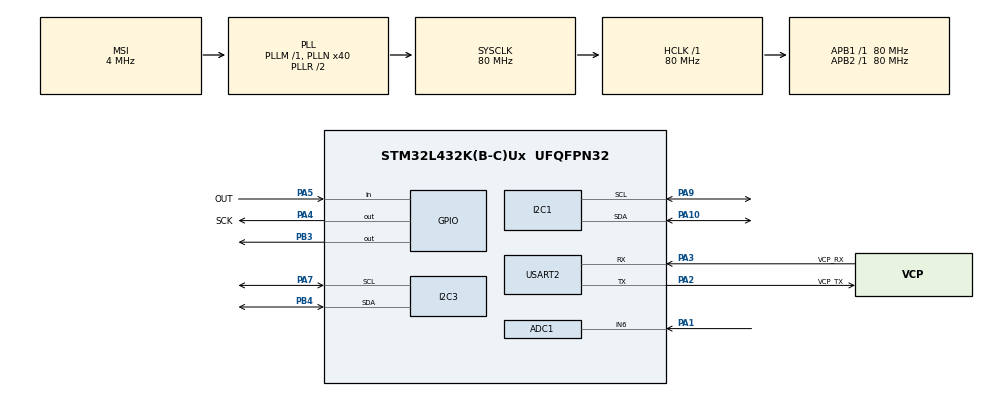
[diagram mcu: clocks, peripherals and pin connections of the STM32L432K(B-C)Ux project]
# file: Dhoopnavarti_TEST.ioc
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ADC1.Channel-0\#ChannelRegularConversion=ADC_CHANNEL_6
ADC1.ClockPrescaler=ADC_CLOCK_SYNC_PCLK_DIV1
ADC1.ContinuousConvMode=ENABLE
ADC1.DMAContinuousRequests=DISABLE
ADC1.EnableAnalogWatchDog1=false
ADC1.NbrOfConversion=1
ADC1.NbrOfConversionFlag=1
ADC1.OffsetNumber-0\#ChannelRegularConversion=ADC_OFFSET_NONE
ADC1.OversamplingMode=DISABLE
ADC1.Rank-0\#ChannelRegularConversion=1
ADC1.Resolution=ADC_RESOLUTION_10B
ADC1.SamplingTime-0\#ChannelRegularConversion=ADC_SAMPLETIME_2CYCLES_5
ADC1.master=1
I2C1.Timing=0x10D19CE4
I2C3.Timing=0x10D19CE4
Mcu.Family=STM32L4
Mcu.Name=STM32L432K(B-C)Ux
Mcu.Package=UFQFPN32
NVIC.I2C1_ER_IRQn=true\:0\:0\:false\:false\:true\:true\:true\:true
NVIC.I2C1_EV_IRQn=true\:0\:0\:false\:false\:true\:true\:true\:true
NVIC.I2C3_ER_IRQn=true\:0\:0\:false\:false\:true\:true\:true\:true
NVIC.I2C3_EV_IRQn=true\:0\:0\:false\:false\:true\:true\:true\:true
NVIC.PriorityGroup=NVIC_PRIORITYGROUP_4
PA0.GPIO_Label=MCO [High speed clock in]
PA0.Mode=HSE-External-Clock-Source-for-LittleOrca
PA0.Signal=RCC_CK_IN
PA1.Signal=ADCx_IN6
PA10.Mode=I2C
PA10.Signal=I2C1_SDA
PA13\ (JTMS-SWDIO).GPIO_Label=SWDIO
PA13\ (JTMS-SWDIO).Mode=Serial_Wire
PA13\ (JTMS-SWDIO).Signal=SYS_JTMS-SWDIO
PA14\ (JTCK-SWCLK).GPIO_Label=SWCLK
PA14\ (JTCK-SWCLK).Mode=Serial_Wire
PA14\ (JTCK-SWCLK).Signal=SYS_JTCK-SWCLK
PA2.GPIO_Label=VCP_TX
PA2.Mode=Asynchronous
PA2.Signal=USART2_TX
PA3.GPIO_Label=VCP_RX
PA3.Mode=Asynchronous
PA3.Signal=USART2_RX
PA4.GPIO_Label=SCK
PA4.Signal=GPIO_Output
PA5.GPIO_Label=OUT
PA5.Signal=GPIO_Input
PA7.Mode=I2C
PA7.Signal=I2C3_SCL
PA9.Mode=I2C
PA9.Signal=I2C1_SCL
PB3\ (JTDO-TRACESWO).Signal=GPIO_Output
PB4\ (NJTRST).Mode=I2C
PB4\ (NJTRST).Signal=I2C3_SDA
PC14-OSC32_IN\ (PC14).Mode=LSE-External-Oscillator
PC14-OSC32_IN\ (PC14).Signal=RCC_OSC32_IN
PC15-OSC32_OUT\ (PC15).Mode=LSE-External-Oscillator
PC15-OSC32_OUT\ (PC15).Signal=RCC_OSC32_OUT
ProjectManager.HeapSize=0x200
ProjectManager.StackSize=0x400
ProjectManager.TargetToolchain=STM32CubeIDE
RCC.ADCFreq_Value=32000000
RCC.AHBFreq_Value=80000000
RCC.APB1Freq_Value=80000000
RCC.APB1TimFreq_Value=80000000
RCC.APB2Freq_Value=80000000
RCC.APB2TimFreq_Value=80000000
RCC.CortexFreq_Value=80000000
RCC.HCLKFreq_Value=80000000
RCC.HSE_VALUE=8000000
RCC.HSI16_VALUE=16000000
RCC.HSI48_VALUE=48000000
RCC.HSI_VALUE=16000000
RCC.MSI_VALUE=4000000
RCC.PLLMUL=RCC_PLLMUL_4
RCC.PLLN=40
RCC.PLLSAI1N=16
RCC.SYSCLKFreq_VALUE=80000000
RCC.SYSCLKSource=RCC_SYSCLKSOURCE_PLLCLK
RCC.USBFreq_Value=32000000
RCC.VCOOutputFreq_Value=160000000
SH.ADCx_IN6.0=ADC1_IN6,IN6-Single-Ended
USART2.VirtualMode-Asynchronous=VM_ASYNC
board=NUCLEO-L432KC

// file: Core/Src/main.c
/* USER CODE BEGIN Header */
/**
 ******************************************************************************
 * @file           : main.c
 * @brief          : Main program body
 ******************************************************************************
 * @attention
 *
 * Copyright (c) 2024 STMicroelectronics.
 * All rights reserved.
 *
 * This software is licensed under terms that can be found in the LICENSE file
 * in the root directory of this software component.
 * If no LICENSE file comes with this software, it is provided AS-IS.
 *
 ******************************************************************************
 */
/* USER CODE END Header */
#include "main.h"

/* USER CODE BEGIN Includes */
#include "tmp117.h"
#include "ssd1306.h"
#include "ssd1306_conf.h"
#include "ssd1306_tests.h"
#include "ssd1306_fonts.h"
#include <stdio.h>
#include <string.h>
/* USER CODE END Includes */

/* USER CODE BEGIN PD */
#define HX710B_DATA_GPIO_Port OUT_GPIO_Port
#define HX710B_DATA_Pin OUT_Pin
#define HX710B_CLK_GPIO_Port SCK_GPIO_Port
#define HX710B_CLK_Pin SCK_Pin
/* USER CODE END PD */

ADC_HandleTypeDef hadc1;

I2C_HandleTypeDef hi2c1;
I2C_HandleTypeDef hi2c3;

UART_HandleTypeDef huart2;

/* USER CODE BEGIN PV */
#define TMP117_ADDR          0x48 << 1     // TMP117 address with R/W bit
#define TMP117_TEMP_REG      0x00          // Temperature register
#define TMP117_CONFIG_REG    0x01          // Configuration register

// TMP117 configuration values
#define TMP117_CONFIG_VALUE  0x0220
/* USER CODE END PV */

void SystemClock_Config(void);
static void MX_GPIO_Init(void);
static void MX_I2C1_Init(void);
static void MX_USART2_UART_Init(void);
static void MX_ADC1_Init(void);
static void MX_I2C3_Init(void);

/* USER CODE BEGIN 0 */
// TMP117 Initialization
HAL_StatusTypeDef TMP117_Init(void) {
	uint8_t config_data[3];
	config_data[0] = TMP117_CONFIG_REG;               // Register pointer
	config_data[1] = (TMP117_CONFIG_VALUE >> 8) & 0xFF; // MSB of config
	config_data[2] = TMP117_CONFIG_VALUE & 0xFF;       // LSB of config

	// Write to the configuration register
	return HAL_I2C_Master_Transmit(&hi2c1, TMP117_ADDR, config_data, 3,
			HAL_MAX_DELAY);
}

// Read temperature from TMP117
HAL_StatusTypeDef TMP117_ReadTemperature(float *temperature) {
	uint8_t temp_data[2];
	int16_t raw_temp;

	// Request 2 bytes from temperature register
	temp_data[0] = TMP117_TEMP_REG;
	if (HAL_I2C_Master_Transmit(&hi2c1, TMP117_ADDR, temp_data, 1,
			HAL_MAX_DELAY) != HAL_OK) {
		return HAL_ERROR;  // Error in sending data
	}

	// Receive 2 bytes of temperature data
	if (HAL_I2C_Master_Receive(&hi2c1, TMP117_ADDR, temp_data, 2, HAL_MAX_DELAY)
			!= HAL_OK) {
		return HAL_ERROR;  // Error in receiving data
	}

	// Combine the two bytes to form a 16-bit signed integer
	raw_temp = (int16_t) ((temp_data[0] << 8) | temp_data[1]);

	// Convert to Celsius based on TMP117 resolution (0.0078125 °C per LSB)
	*temperature = raw_temp * 0.0078125;

	return HAL_OK;
}
int _write(int file, char *ptr, int len) {
	int DataIdx;
	for (DataIdx = 0; DataIdx < len; DataIdx++) {
		ITM_SendChar(*ptr++);
	}
	return len;
}

long readHX710B() {
	// Wait until data line is low (indicating data is ready)
	while (HAL_GPIO_ReadPin(HX710B_DATA_GPIO_Port, HX710B_DATA_Pin))
		;

	long result = 0;

	// Read 24 bits from the sensor
	for (int i = 0; i < 24; i++) {
		// Set clock high and then low with small delay for timing
		HAL_GPIO_WritePin(HX710B_CLK_GPIO_Port, HX710B_CLK_Pin, GPIO_PIN_SET);
//        delay_us(1);  // 1 microsecond delay;
//        HAL_Delay(1);
		HAL_GPIO_WritePin(HX710B_CLK_GPIO_Port, HX710B_CLK_Pin, GPIO_PIN_RESET);
//        delay_us(1);  // 1 microsecond delay

		// Shift result left and read data bit
		result = result << 1;
		if (HAL_GPIO_ReadPin(HX710B_DATA_GPIO_Port, HX710B_DATA_Pin)) {
			result++;
		}
	}

	// Convert to two's complement if needed
	result = result ^ 0x800000;

	// Pulse the clock line 3 times to initiate the next reading
	for (char i = 0; i < 3; i++) {
		HAL_GPIO_WritePin(HX710B_CLK_GPIO_Port, HX710B_CLK_Pin, GPIO_PIN_SET);
//        delay_us(1);  // Small delay
//        HAL_Delay(1);
		HAL_GPIO_WritePin(HX710B_CLK_GPIO_Port, HX710B_CLK_Pin, GPIO_PIN_RESET);
//        delay_us(1);  // Small delay
	}

	return result;
}
float mapVoltageToPercentage(float voltage, float minVoltage, float maxVoltage) {
    // Ensure voltage stays within the specified range
    if (voltage < minVoltage) voltage = minVoltage;
    if (voltage > maxVoltage) voltage = maxVoltage;

    // Map the voltage to a percentage
    return ((voltage - minVoltage) / (maxVoltage - minVoltage)) * 100.0;
}
float batterymonitor() {
// Poll for conversion completion and check if the ADC data is ready
	HAL_ADC_Start(&hadc1);
	if (HAL_ADC_PollForConversion(&hadc1, HAL_MAX_DELAY) == HAL_OK) {
		// Get the analog value
		uint32_t adcValue = HAL_ADC_GetValue(&hadc1);

		// Convert ADC value to voltage (assuming 12-bit resolution and 3.3V reference)
		float voltage = (adcValue * 5.0f) / 1023.0f;

		// Print or use the voltage value
		return voltage / (0.4);
	}
	return 0;
}

/* USER CODE END 0 */

int main(void)
{

  /* MCU Configuration--------------------------------------------------------*/

  /* Reset of all peripherals, Initializes the Flash interface and the Systick. */
  HAL_Init();

  /* Configure the system clock */
  SystemClock_Config();

  /* Initialize all configured peripherals */
  MX_GPIO_Init();
  MX_I2C1_Init();
  MX_USART2_UART_Init();
  MX_ADC1_Init();
  MX_I2C3_Init();
  /* USER CODE BEGIN 2 */
	float temp = 0.0;
	char message[100];
	//ssd1306_Init();
	//TMP117_set_Configuration(hi2c1,0x20,0x02);
	//TMP117_Initialization_DEFAULT(hi2c1);
	// TMP117_set_Temperature_Offset(hi2c1,0x60,0x00);
	HAL_Delay(2);
	ssd1306_Init();
	ssd1306_Fill(Black);
//  HAL_ADC_Start(&hadc1);

  /* USER CODE END 2 */

  /* Infinite loop */
  /* USER CODE BEGIN WHILE */
	while (1) {
		TMP117_ReadTemperature(&temp) ;
		HAL_Delay(100);
		ssd1306_Fill(Black);
		ssd1306_SetCursor(0, 4);
		sprintf(message, "Temp: %.4fC\n", temp);
		ssd1306_WriteString(message, Font_7x10, White);
		ssd1306_SetCursor(0, 4 + 20);
		sprintf(message, "Pressure: %.2fatm\n", readHX710B()/10000000.0);
		ssd1306_WriteString(message, Font_7x10, White);
		ssd1306_SetCursor(0, 4 + 38);
		float battery = batterymonitor();
		HAL_Delay(100);
		HAL_ADC_Stop(&hadc1);
//	sprintf(message, "Battery Voltage: %.2fV\n", battery-0.889);
//	ssd1306_WriteString(message, Font_6x8, White);

	if((battery-0.889)<11.5){
		sprintf(message, "Battery:%.2f%",mapVoltageToPercentage(battery-0.889,7.4,8));
		HAL_UART_Transmit(&huart2, message, strlen(message), HAL_MAX_DELAY);
		ssd1306_WriteString(message, Font_7x10, White);
	}
	else{
		sprintf(message, "Battery:Full");
		HAL_UART_Transmit(&huart2, message, strlen(message), HAL_MAX_DELAY);
		ssd1306_WriteString(message, Font_7x10, White);
	}
		ssd1306_UpdateScreen();

    /* USER CODE END WHILE */

	}
}

void SystemClock_Config(void)
{
  RCC_OscInitTypeDef RCC_OscInitStruct = {0};
  RCC_ClkInitTypeDef RCC_ClkInitStruct = {0};

  /** Configure the main internal regulator output voltage
  */
  if (HAL_PWREx_ControlVoltageScaling(PWR_REGULATOR_VOLTAGE_SCALE1) != HAL_OK)
  {
    Error_Handler();
  }

  /** Configure LSE Drive Capability
  */
  HAL_PWR_EnableBkUpAccess();
  __HAL_RCC_LSEDRIVE_CONFIG(RCC_LSEDRIVE_LOW);

  /** Initializes the RCC Oscillators according to the specified parameters
  * in the RCC_OscInitTypeDef structure.
  */
  RCC_OscInitStruct.OscillatorType = RCC_OSCILLATORTYPE_LSE|RCC_OSCILLATORTYPE_MSI;
  RCC_OscInitStruct.LSEState = RCC_LSE_ON;
  RCC_OscInitStruct.MSIState = RCC_MSI_ON;
  RCC_OscInitStruct.MSICalibrationValue = 0;
  RCC_OscInitStruct.MSIClockRange = RCC_MSIRANGE_6;
  RCC_OscInitStruct.PLL.PLLState = RCC_PLL_ON;
  RCC_OscInitStruct.PLL.PLLSource = RCC_PLLSOURCE_MSI;
  RCC_OscInitStruct.PLL.PLLM = 1;
  RCC_OscInitStruct.PLL.PLLN = 40;
  RCC_OscInitStruct.PLL.PLLP = RCC_PLLP_DIV7;
  RCC_OscInitStruct.PLL.PLLQ = RCC_PLLQ_DIV2;
  RCC_OscInitStruct.PLL.PLLR = RCC_PLLR_DIV2;
  if (HAL_RCC_OscConfig(&RCC_OscInitStruct) != HAL_OK)
  {
    Error_Handler();
  }

  /** Initializes the CPU, AHB and APB buses clocks
  */
  RCC_ClkInitStruct.ClockType = RCC_CLOCKTYPE_HCLK|RCC_CLOCKTYPE_SYSCLK
                              |RCC_CLOCKTYPE_PCLK1|RCC_CLOCKTYPE_PCLK2;
  RCC_ClkInitStruct.SYSCLKSource = RCC_SYSCLKSOURCE_PLLCLK;
  RCC_ClkInitStruct.AHBCLKDivider = RCC_SYSCLK_DIV1;
  RCC_ClkInitStruct.APB1CLKDivider = RCC_HCLK_DIV1;
  RCC_ClkInitStruct.APB2CLKDivider = RCC_HCLK_DIV1;

  if (HAL_RCC_ClockConfig(&RCC_ClkInitStruct, FLASH_LATENCY_4) != HAL_OK)
  {
    Error_Handler();
  }

  /** Enable MSI Auto calibration
  */
  HAL_RCCEx_EnableMSIPLLMode();
}

static void MX_ADC1_Init(void)
{

  ADC_ChannelConfTypeDef sConfig = {0};

  /** Common config
  */
  hadc1.Instance = ADC1;
  hadc1.Init.ClockPrescaler = ADC_CLOCK_SYNC_PCLK_DIV1;
  hadc1.Init.Resolution = ADC_RESOLUTION_10B;
  hadc1.Init.DataAlign = ADC_DATAALIGN_RIGHT;
  hadc1.Init.ScanConvMode = ADC_SCAN_DISABLE;
  hadc1.Init.EOCSelection = ADC_EOC_SINGLE_CONV;
  hadc1.Init.LowPowerAutoWait = DISABLE;
  hadc1.Init.ContinuousConvMode = ENABLE;
  hadc1.Init.NbrOfConversion = 1;
  hadc1.Init.DiscontinuousConvMode = DISABLE;
  hadc1.Init.ExternalTrigConv = ADC_SOFTWARE_START;
  hadc1.Init.ExternalTrigConvEdge = ADC_EXTERNALTRIGCONVEDGE_NONE;
  hadc1.Init.DMAContinuousRequests = DISABLE;
  hadc1.Init.Overrun = ADC_OVR_DATA_PRESERVED;
  hadc1.Init.OversamplingMode = DISABLE;
  if (HAL_ADC_Init(&hadc1) != HAL_OK)
  {
    Error_Handler();
  }

  /** Configure Regular Channel
  */
  sConfig.Channel = ADC_CHANNEL_6;
  sConfig.Rank = ADC_REGULAR_RANK_1;
  sConfig.SamplingTime = ADC_SAMPLETIME_2CYCLES_5;
  sConfig.SingleDiff = ADC_SINGLE_ENDED;
  sConfig.OffsetNumber = ADC_OFFSET_NONE;
  sConfig.Offset = 0;
  if (HAL_ADC_ConfigChannel(&hadc1, &sConfig) != HAL_OK)
  {
    Error_Handler();
  }

}

static void MX_I2C1_Init(void)
{

  hi2c1.Instance = I2C1;
  hi2c1.Init.Timing = 0x10D19CE4;
  hi2c1.Init.OwnAddress1 = 0;
  hi2c1.Init.AddressingMode = I2C_ADDRESSINGMODE_7BIT;
  hi2c1.Init.DualAddressMode = I2C_DUALADDRESS_DISABLE;
  hi2c1.Init.OwnAddress2 = 0;
  hi2c1.Init.OwnAddress2Masks = I2C_OA2_NOMASK;
  hi2c1.Init.GeneralCallMode = I2C_GENERALCALL_DISABLE;
  hi2c1.Init.NoStretchMode = I2C_NOSTRETCH_DISABLE;
  if (HAL_I2C_Init(&hi2c1) != HAL_OK)
  {
    Error_Handler();
  }

  /** Configure Analogue filter
  */
  if (HAL_I2CEx_ConfigAnalogFilter(&hi2c1, I2C_ANALOGFILTER_ENABLE) != HAL_OK)
  {
    Error_Handler();
  }

  /** Configure Digital filter
  */
  if (HAL_I2CEx_ConfigDigitalFilter(&hi2c1, 0) != HAL_OK)
  {
    Error_Handler();
  }

}

static void MX_I2C3_Init(void)
{

  hi2c3.Instance = I2C3;
  hi2c3.Init.Timing = 0x10D19CE4;
  hi2c3.Init.OwnAddress1 = 0;
  hi2c3.Init.AddressingMode = I2C_ADDRESSINGMODE_7BIT;
  hi2c3.Init.DualAddressMode = I2C_DUALADDRESS_DISABLE;
  hi2c3.Init.OwnAddress2 = 0;
  hi2c3.Init.OwnAddress2Masks = I2C_OA2_NOMASK;
  hi2c3.Init.GeneralCallMode = I2C_GENERALCALL_DISABLE;
  hi2c3.Init.NoStretchMode = I2C_NOSTRETCH_DISABLE;
  if (HAL_I2C_Init(&hi2c3) != HAL_OK)
  {
    Error_Handler();
  }

  /** Configure Analogue filter
  */
  if (HAL_I2CEx_ConfigAnalogFilter(&hi2c3, I2C_ANALOGFILTER_ENABLE) != HAL_OK)
  {
    Error_Handler();
  }

  /** Configure Digital filter
  */
  if (HAL_I2CEx_ConfigDigitalFilter(&hi2c3, 0) != HAL_OK)
  {
    Error_Handler();
  }

}

static void MX_USART2_UART_Init(void)
{

  huart2.Instance = USART2;
  huart2.Init.BaudRate = 115200;
  huart2.Init.WordLength = UART_WORDLENGTH_8B;
  huart2.Init.StopBits = UART_STOPBITS_1;
  huart2.Init.Parity = UART_PARITY_NONE;
  huart2.Init.Mode = UART_MODE_TX_RX;
  huart2.Init.HwFlowCtl = UART_HWCONTROL_NONE;
  huart2.Init.OverSampling = UART_OVERSAMPLING_16;
  huart2.Init.OneBitSampling = UART_ONE_BIT_SAMPLE_DISABLE;
  huart2.AdvancedInit.AdvFeatureInit = UART_ADVFEATURE_NO_INIT;
  if (HAL_UART_Init(&huart2) != HAL_OK)
  {
    Error_Handler();
  }

}

static void MX_GPIO_Init(void)
{
  GPIO_InitTypeDef GPIO_InitStruct = {0};

  /* GPIO Ports Clock Enable */
  __HAL_RCC_GPIOC_CLK_ENABLE();
  __HAL_RCC_GPIOA_CLK_ENABLE();
  __HAL_RCC_GPIOB_CLK_ENABLE();

  /*Configure GPIO pin Output Level */
  HAL_GPIO_WritePin(SCK_GPIO_Port, SCK_Pin, GPIO_PIN_RESET);

  /*Configure GPIO pin Output Level */
  HAL_GPIO_WritePin(GPIOB, GPIO_PIN_3, GPIO_PIN_RESET);

  /*Configure GPIO pin : SCK_Pin */
  GPIO_InitStruct.Pin = SCK_Pin;
  GPIO_InitStruct.Mode = GPIO_MODE_OUTPUT_PP;
  GPIO_InitStruct.Pull = GPIO_NOPULL;
  GPIO_InitStruct.Speed = GPIO_SPEED_FREQ_LOW;
  HAL_GPIO_Init(SCK_GPIO_Port, &GPIO_InitStruct);

  /*Configure GPIO pin : OUT_Pin */
  GPIO_InitStruct.Pin = OUT_Pin;
  GPIO_InitStruct.Mode = GPIO_MODE_INPUT;
  GPIO_InitStruct.Pull = GPIO_NOPULL;
  HAL_GPIO_Init(OUT_GPIO_Port, &GPIO_InitStruct);

  /*Configure GPIO pin : PB3 */
  GPIO_InitStruct.Pin = GPIO_PIN_3;
  GPIO_InitStruct.Mode = GPIO_MODE_OUTPUT_PP;
  GPIO_InitStruct.Pull = GPIO_NOPULL;
  GPIO_InitStruct.Speed = GPIO_SPEED_FREQ_LOW;
  HAL_GPIO_Init(GPIOB, &GPIO_InitStruct);

}

void Error_Handler(void)
{
	__disable_irq();
	while (1) {
	}
}
